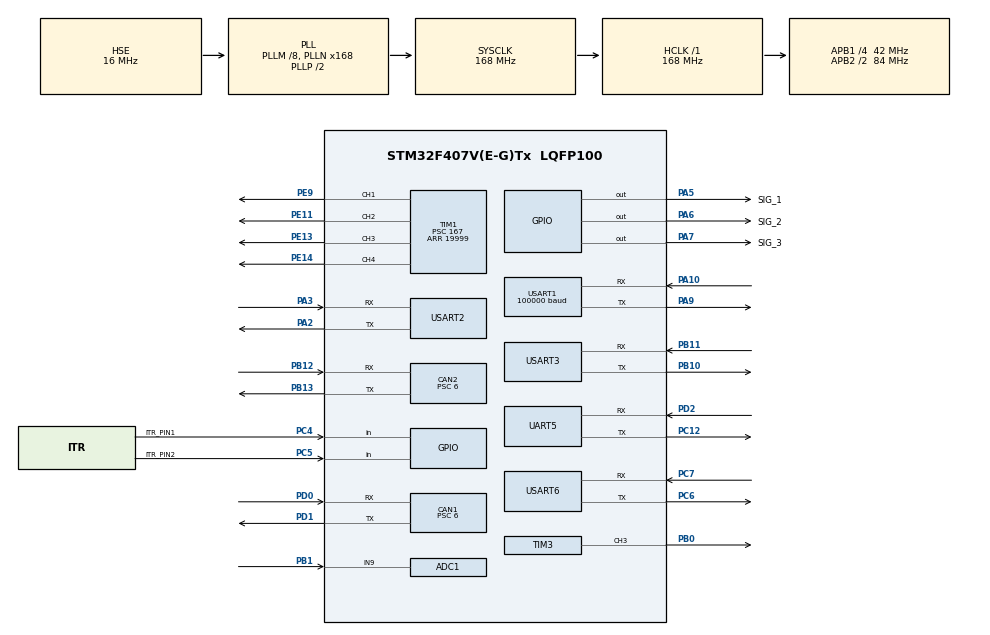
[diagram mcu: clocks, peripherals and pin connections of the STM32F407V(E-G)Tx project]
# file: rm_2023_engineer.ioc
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ADC1.Channel-0\#ChannelRegularConversion=ADC_CHANNEL_9
ADC1.NbrOfConversionFlag=1
ADC1.Rank-0\#ChannelRegularConversion=1
ADC1.SamplingTime-0\#ChannelRegularConversion=ADC_SAMPLETIME_3CYCLES
ADC1.master=1
CAN1.ABOM=ENABLE
CAN1.BS1=CAN_BS1_3TQ
CAN1.BS2=CAN_BS2_3TQ
CAN1.CalculateBaudRate=1000000
CAN1.CalculateTimeBit=1000
CAN1.CalculateTimeQuantum=142.85714285714286
CAN1.NART=ENABLE
CAN1.Prescaler=6
CAN1.TXFP=ENABLE
CAN2.ABOM=ENABLE
CAN2.BS1=CAN_BS1_3TQ
CAN2.BS2=CAN_BS2_3TQ
CAN2.CalculateBaudRate=1000000
CAN2.CalculateTimeBit=1000
CAN2.CalculateTimeQuantum=142.85714285714286
CAN2.NART=ENABLE
CAN2.Prescaler=6
CAN2.TXFP=ENABLE
Dma.Request0=USART1_RX
Dma.Request1=UART5_RX
Dma.Request2=UART5_TX
Dma.Request3=USART2_RX
Dma.Request4=USART2_TX
Dma.Request5=USART3_RX
Dma.Request6=USART3_TX
Dma.UART5_RX.1.Direction=DMA_PERIPH_TO_MEMORY
Dma.UART5_RX.1.FIFOMode=DMA_FIFOMODE_DISABLE
Dma.UART5_RX.1.Instance=DMA1_Stream0
Dma.UART5_RX.1.MemDataAlignment=DMA_MDATAALIGN_BYTE
Dma.UART5_RX.1.MemInc=DMA_MINC_ENABLE
Dma.UART5_RX.1.Mode=DMA_NORMAL
Dma.UART5_RX.1.PeriphDataAlignment=DMA_PDATAALIGN_BYTE
Dma.UART5_RX.1.PeriphInc=DMA_PINC_DISABLE
Dma.UART5_RX.1.Priority=DMA_PRIORITY_LOW
Dma.UART5_TX.2.Direction=DMA_MEMORY_TO_PERIPH
Dma.UART5_TX.2.FIFOMode=DMA_FIFOMODE_DISABLE
Dma.UART5_TX.2.Instance=DMA1_Stream7
Dma.UART5_TX.2.MemDataAlignment=DMA_MDATAALIGN_BYTE
Dma.UART5_TX.2.MemInc=DMA_MINC_ENABLE
Dma.UART5_TX.2.Mode=DMA_NORMAL
Dma.UART5_TX.2.PeriphDataAlignment=DMA_PDATAALIGN_BYTE
Dma.UART5_TX.2.PeriphInc=DMA_PINC_DISABLE
Dma.UART5_TX.2.Priority=DMA_PRIORITY_LOW
Dma.USART1_RX.0.Direction=DMA_PERIPH_TO_MEMORY
Dma.USART1_RX.0.FIFOMode=DMA_FIFOMODE_DISABLE
Dma.USART1_RX.0.Instance=DMA2_Stream2
Dma.USART1_RX.0.MemDataAlignment=DMA_MDATAALIGN_BYTE
Dma.USART1_RX.0.MemInc=DMA_MINC_ENABLE
Dma.USART1_RX.0.Mode=DMA_NORMAL
Dma.USART1_RX.0.PeriphDataAlignment=DMA_PDATAALIGN_BYTE
Dma.USART1_RX.0.PeriphInc=DMA_PINC_DISABLE
Dma.USART1_RX.0.Priority=DMA_PRIORITY_LOW
Dma.USART2_RX.3.Direction=DMA_PERIPH_TO_MEMORY
Dma.USART2_RX.3.FIFOMode=DMA_FIFOMODE_DISABLE
Dma.USART2_RX.3.Instance=DMA1_Stream5
Dma.USART2_RX.3.MemDataAlignment=DMA_MDATAALIGN_BYTE
Dma.USART2_RX.3.MemInc=DMA_MINC_ENABLE
Dma.USART2_RX.3.Mode=DMA_NORMAL
Dma.USART2_RX.3.PeriphDataAlignment=DMA_PDATAALIGN_BYTE
Dma.USART2_RX.3.PeriphInc=DMA_PINC_DISABLE
Dma.USART2_RX.3.Priority=DMA_PRIORITY_LOW
Dma.USART2_TX.4.Direction=DMA_MEMORY_TO_PERIPH
Dma.USART2_TX.4.FIFOMode=DMA_FIFOMODE_DISABLE
Dma.USART2_TX.4.Instance=DMA1_Stream6
Dma.USART2_TX.4.MemDataAlignment=DMA_MDATAALIGN_BYTE
Dma.USART2_TX.4.MemInc=DMA_MINC_ENABLE
Dma.USART2_TX.4.Mode=DMA_NORMAL
Dma.USART2_TX.4.PeriphDataAlignment=DMA_PDATAALIGN_BYTE
Dma.USART2_TX.4.PeriphInc=DMA_PINC_DISABLE
Dma.USART2_TX.4.Priority=DMA_PRIORITY_LOW
Dma.USART3_RX.5.Direction=DMA_PERIPH_TO_MEMORY
Dma.USART3_RX.5.FIFOMode=DMA_FIFOMODE_DISABLE
Dma.USART3_RX.5.Instance=DMA1_Stream1
Dma.USART3_RX.5.MemDataAlignment=DMA_MDATAALIGN_BYTE
Dma.USART3_RX.5.MemInc=DMA_MINC_ENABLE
Dma.USART3_RX.5.Mode=DMA_NORMAL
Dma.USART3_RX.5.PeriphDataAlignment=DMA_PDATAALIGN_BYTE
Dma.USART3_RX.5.PeriphInc=DMA_PINC_DISABLE
Dma.USART3_RX.5.Priority=DMA_PRIORITY_LOW
Dma.USART3_TX.6.Direction=DMA_MEMORY_TO_PERIPH
Dma.USART3_TX.6.FIFOMode=DMA_FIFOMODE_DISABLE
Dma.USART3_TX.6.Instance=DMA1_Stream3
Dma.USART3_TX.6.MemDataAlignment=DMA_MDATAALIGN_BYTE
Dma.USART3_TX.6.MemInc=DMA_MINC_ENABLE
Dma.USART3_TX.6.Mode=DMA_NORMAL
Dma.USART3_TX.6.PeriphDataAlignment=DMA_PDATAALIGN_BYTE
Dma.USART3_TX.6.PeriphInc=DMA_PINC_DISABLE
Dma.USART3_TX.6.Priority=DMA_PRIORITY_LOW
FREERTOS.INCLUDE_vTaskDelayUntil=1
FREERTOS.INCLUDE_xQueueGetMutexHolder=1
FREERTOS.Tasks01=defaultTask,0,128,StartDefaultTask,Default,NULL,Dynamic,NULL,NULL
FREERTOS.configUSE_TIMERS=1
Mcu.Family=STM32F4
Mcu.Name=STM32F407V(E-G)Tx
Mcu.Package=LQFP100
NVIC.CAN1_RX0_IRQn=true\:5\:0\:false\:false\:true\:true\:true\:true\:true
NVIC.CAN1_RX1_IRQn=true\:5\:0\:false\:false\:true\:true\:true\:true\:true
NVIC.CAN1_SCE_IRQn=true\:5\:0\:false\:false\:true\:true\:true\:true\:true
NVIC.CAN1_TX_IRQn=true\:5\:0\:false\:false\:true\:true\:true\:true\:true
NVIC.CAN2_RX0_IRQn=true\:5\:0\:false\:false\:true\:true\:true\:true\:true
NVIC.CAN2_RX1_IRQn=true\:5\:0\:false\:false\:true\:true\:true\:true\:true
NVIC.CAN2_SCE_IRQn=true\:5\:0\:false\:false\:true\:true\:true\:true\:true
NVIC.CAN2_TX_IRQn=true\:5\:0\:false\:false\:true\:true\:true\:true\:true
NVIC.DMA1_Stream0_IRQn=true\:5\:0\:false\:false\:true\:true\:false\:true\:true
NVIC.DMA1_Stream1_IRQn=true\:5\:0\:false\:false\:true\:true\:false\:true\:true
NVIC.DMA1_Stream3_IRQn=true\:5\:0\:false\:false\:true\:true\:false\:true\:true
NVIC.DMA1_Stream5_IRQn=true\:5\:0\:false\:false\:true\:true\:false\:true\:true
NVIC.DMA1_Stream6_IRQn=true\:5\:0\:false\:false\:true\:true\:false\:true\:true
NVIC.DMA1_Stream7_IRQn=true\:5\:0\:false\:false\:true\:true\:false\:true\:true
NVIC.DMA2_Stream2_IRQn=true\:5\:0\:false\:false\:true\:true\:false\:true\:true
NVIC.PriorityGroup=NVIC_PRIORITYGROUP_4
NVIC.TIM1_UP_TIM10_IRQn=true\:5\:0\:false\:false\:true\:false\:false\:true\:true
NVIC.TimeBase=TIM1_UP_TIM10_IRQn
NVIC.TimeBaseIP=TIM10
NVIC.UART5_IRQn=true\:5\:0\:false\:false\:true\:true\:true\:true\:true
NVIC.USART1_IRQn=true\:5\:0\:false\:false\:true\:true\:true\:true\:true
NVIC.USART2_IRQn=true\:5\:0\:false\:false\:true\:true\:true\:true\:true
NVIC.USART3_IRQn=true\:5\:0\:false\:false\:true\:true\:true\:true\:true
NVIC.USART6_IRQn=true\:5\:0\:false\:false\:true\:true\:true\:true\:true
PA10.GPIO_PuPd=GPIO_PULLUP
PA10.Mode=Asynchronous
PA10.Signal=USART1_RX
PA13.Mode=Serial_Wire
PA13.Signal=SYS_JTMS-SWDIO
PA14.Mode=Serial_Wire
PA14.Signal=SYS_JTCK-SWCLK
PA2.GPIO_PuPd=GPIO_PULLUP
PA2.Mode=Asynchronous
PA2.Signal=USART2_TX
PA3.GPIO_PuPd=GPIO_PULLUP
PA3.Mode=Asynchronous
PA3.Signal=USART2_RX
PA5.GPIO_Label=SIG_1
PA5.GPIO_PuPd=GPIO_PULLDOWN
PA5.Signal=GPIO_Output
PA6.GPIO_Label=SIG_2
PA6.GPIO_PuPd=GPIO_PULLDOWN
PA6.Signal=GPIO_Output
PA7.GPIO_Label=SIG_3
PA7.GPIO_PuPd=GPIO_PULLDOWN
PA7.Signal=GPIO_Output
PA9.GPIO_PuPd=GPIO_PULLUP
PA9.Mode=Asynchronous
PA9.Signal=USART1_TX
PB0.Signal=S_TIM3_CH3
PB1.Signal=ADCx_IN9
PB10.GPIO_PuPd=GPIO_PULLUP
PB10.Mode=Asynchronous
PB10.Signal=USART3_TX
PB11.GPIO_PuPd=GPIO_PULLUP
PB11.Mode=Asynchronous
PB11.Signal=USART3_RX
PB12.Mode=CAN_Activate
PB12.Signal=CAN2_RX
PB13.Mode=CAN_Activate
PB13.Signal=CAN2_TX
PC12.GPIO_PuPd=GPIO_PULLUP
PC12.Mode=Asynchronous
PC12.Signal=UART5_TX
PC4.GPIO_Label=ITR_PIN1
PC4.GPIO_PuPd=GPIO_PULLDOWN
PC4.Signal=GPIO_Input
PC5.GPIO_Label=ITR_PIN2
PC5.GPIO_PuPd=GPIO_PULLDOWN
PC5.Signal=GPIO_Input
PC6.GPIO_PuPd=GPIO_PULLUP
PC6.Mode=Asynchronous
PC6.Signal=USART6_TX
PC7.GPIO_PuPd=GPIO_PULLUP
PC7.Mode=Asynchronous
PC7.Signal=USART6_RX
PD0.Mode=CAN_Activate
PD0.Signal=CAN1_RX
PD1.Mode=CAN_Activate
PD1.Signal=CAN1_TX
PD2.GPIO_PuPd=GPIO_PULLUP
PD2.Mode=Asynchronous
PD2.Signal=UART5_RX
PE11.Signal=S_TIM1_CH2
PE13.Signal=S_TIM1_CH3
PE14.Signal=S_TIM1_CH4
PE9.Signal=S_TIM1_CH1
PH0-OSC_IN.Mode=HSE-External-Oscillator
PH0-OSC_IN.Signal=RCC_OSC_IN
PH1-OSC_OUT.Mode=HSE-External-Oscillator
PH1-OSC_OUT.Signal=RCC_OSC_OUT
ProjectManager.HeapSize=0x200
ProjectManager.StackSize=0x400
ProjectManager.TargetToolchain=MDK-ARM V5.32
RCC.48MHZClocksFreq_Value=84000000
RCC.AHBFreq_Value=168000000
RCC.APB1CLKDivider=RCC_HCLK_DIV4
RCC.APB1Freq_Value=42000000
RCC.APB1TimFreq_Value=84000000
RCC.APB2CLKDivider=RCC_HCLK_DIV2
RCC.APB2Freq_Value=84000000
RCC.APB2TimFreq_Value=168000000
RCC.CortexFreq_Value=168000000
RCC.HCLKFreq_Value=168000000
RCC.HSE_VALUE=16000000
RCC.HSI_VALUE=16000000
RCC.LSE_VALUE=32768
RCC.PLLM=8
RCC.PLLN=168
RCC.PLLSourceVirtual=RCC_PLLSOURCE_HSE
RCC.SYSCLKFreq_VALUE=168000000
RCC.SYSCLKSource=RCC_SYSCLKSOURCE_PLLCLK
RCC.VCOOutputFreq_Value=336000000
SH.ADCx_IN9.0=ADC1_IN9,IN9
SH.S_TIM1_CH1.0=TIM1_CH1,PWM Generation1 CH1
SH.S_TIM1_CH2.0=TIM1_CH2,PWM Generation2 CH2
SH.S_TIM1_CH3.0=TIM1_CH3,PWM Generation3 CH3
SH.S_TIM1_CH4.0=TIM1_CH4,PWM Generation4 CH4
SH.S_TIM3_CH3.0=TIM3_CH3,PWM Generation3 CH3
TIM1.AutoReloadPreload=TIM_AUTORELOAD_PRELOAD_ENABLE
TIM1.Channel-PWM\ Generation1\ CH1=TIM_CHANNEL_1
TIM1.Channel-PWM\ Generation2\ CH2=TIM_CHANNEL_2
TIM1.Channel-PWM\ Generation3\ CH3=TIM_CHANNEL_3
TIM1.Channel-PWM\ Generation4\ CH4=TIM_CHANNEL_4
TIM1.Period=19999
TIM1.Prescaler=167
TIM3.AutoReloadPreload=TIM_AUTORELOAD_PRELOAD_ENABLE
TIM3.Channel-PWM\ Generation3\ CH3=TIM_CHANNEL_3
TIM3.Period=19999
TIM3.Prescaler=167
UART5.VirtualMode=Asynchronous
USART1.BaudRate=100000
USART1.VirtualMode=VM_ASYNC
USART1.WordLength=WORDLENGTH_9B
USART2.VirtualMode=VM_ASYNC
USART3.VirtualMode=VM_ASYNC
USART6.VirtualMode=VM_ASYNC
VP_FREERTOS_VS_CMSIS_V1.Mode=CMSIS_V1
VP_SYS_VS_tim10.Mode=TIM10
VP_TIM12_VS_ClockSourceITR.Mode=TriggerSource_ITR0
VP_TIM1_VS_ClockSourceINT.Mode=Internal
VP_TIM3_VS_ClockSourceINT.Mode=Internal
board=custom

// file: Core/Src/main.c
/* USER CODE BEGIN Header */
/**
  ******************************************************************************
  * @file           : main.c
  * @brief          : Main program body
  ******************************************************************************
  * @attention
  *
  * Copyright (c) 2023 STMicroelectronics.
  * All rights reserved.
  *
  * This software is licensed under terms that can be found in the LICENSE file
  * in the root directory of this software component.
  * If no LICENSE file comes with this software, it is provided AS-IS.
  *
  ******************************************************************************
  */
/* USER CODE END Header */
#include "main.h"
#include "cmsis_os.h"
#include "adc.h"
#include "can.h"
#include "dma.h"
#include "tim.h"
#include "usart.h"
#include "gpio.h"

/* USER CODE BEGIN Includes */
#include "bsp_usart.h"
#include "bsp_can.h"
#include "modeswitch_task.h"
#include "bsp_pwm.h"
/* USER CODE END Includes */

void SystemClock_Config(void);
void MX_FREERTOS_Init(void);

int main(void)
{

  /* MCU Configuration--------------------------------------------------------*/

  /* Reset of all peripherals, Initializes the Flash interface and the Systick. */
  HAL_Init();

  /* Configure the system clock */
  SystemClock_Config();

  /* Initialize all configured peripherals */
  MX_GPIO_Init();
  MX_DMA_Init();
  MX_CAN1_Init();
  MX_CAN2_Init();
  MX_USART1_UART_Init();
  MX_UART5_Init();
  MX_USART2_UART_Init();
  MX_USART3_UART_Init();
  MX_USART6_UART_Init();
  MX_TIM1_Init();
  MX_ADC1_Init();
  MX_TIM3_Init();
  MX_TIM12_Init();
  /* USER CODE BEGIN 2 */
	user_uart_init();
	Can_Init();
	pid_init();
	camera_init();
  /* USER CODE END 2 */

  /* Call init function for freertos objects (in freertos.c) */
  MX_FREERTOS_Init();

  /* Start scheduler */
  osKernelStart();
  /* We should never get here as control is now taken by the scheduler */
  /* Infinite loop */
  while (1)
  {

  }
}

void SystemClock_Config(void)
{
  RCC_OscInitTypeDef RCC_OscInitStruct = {0};
  RCC_ClkInitTypeDef RCC_ClkInitStruct = {0};

  /** Configure the main internal regulator output voltage
  */
  __HAL_RCC_PWR_CLK_ENABLE();
  __HAL_PWR_VOLTAGESCALING_CONFIG(PWR_REGULATOR_VOLTAGE_SCALE1);

  /** Initializes the RCC Oscillators according to the specified parameters
  * in the RCC_OscInitTypeDef structure.
  */
  RCC_OscInitStruct.OscillatorType = RCC_OSCILLATORTYPE_HSE;
  RCC_OscInitStruct.HSEState = RCC_HSE_ON;
  RCC_OscInitStruct.PLL.PLLState = RCC_PLL_ON;
  RCC_OscInitStruct.PLL.PLLSource = RCC_PLLSOURCE_HSE;
  RCC_OscInitStruct.PLL.PLLM = 8;
  RCC_OscInitStruct.PLL.PLLN = 168;
  RCC_OscInitStruct.PLL.PLLP = RCC_PLLP_DIV2;
  RCC_OscInitStruct.PLL.PLLQ = 4;
  if (HAL_RCC_OscConfig(&RCC_OscInitStruct) != HAL_OK)
  {
    Error_Handler();
  }

  /** Initializes the CPU, AHB and APB buses clocks
  */
  RCC_ClkInitStruct.ClockType = RCC_CLOCKTYPE_HCLK|RCC_CLOCKTYPE_SYSCLK
                              |RCC_CLOCKTYPE_PCLK1|RCC_CLOCKTYPE_PCLK2;
  RCC_ClkInitStruct.SYSCLKSource = RCC_SYSCLKSOURCE_PLLCLK;
  RCC_ClkInitStruct.AHBCLKDivider = RCC_SYSCLK_DIV1;
  RCC_ClkInitStruct.APB1CLKDivider = RCC_HCLK_DIV4;
  RCC_ClkInitStruct.APB2CLKDivider = RCC_HCLK_DIV2;

  if (HAL_RCC_ClockConfig(&RCC_ClkInitStruct, FLASH_LATENCY_5) != HAL_OK)
  {
    Error_Handler();
  }
}

void HAL_TIM_PeriodElapsedCallback(TIM_HandleTypeDef *htim)
{
  if (htim->Instance == TIM10) {
    HAL_IncTick();
  }
}

void Error_Handler(void)
{
  __disable_irq();
  while (1)
  {
  }
}

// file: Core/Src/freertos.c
/* USER CODE BEGIN Header */
/**
  ******************************************************************************
  * File Name          : freertos.c
  * Description        : Code for freertos applications
  ******************************************************************************
  * @attention
  *
  * Copyright (c) 2023 STMicroelectronics.
  * All rights reserved.
  *
  * This software is licensed under terms that can be found in the LICENSE file
  * in the root directory of this software component.
  * If no LICENSE file comes with this software, it is provided AS-IS.
  *
  ******************************************************************************
  */
/* USER CODE END Header */

#include "FreeRTOS.h"
#include "task.h"
#include "main.h"
#include "cmsis_os.h"

/* USER CODE BEGIN Includes */
#include "modeswitch_task.h"
#include "uplift_task.h"
#include "stretch_task.h"
#include "addstretch_task.h"
#include "rotate_task.h"
#include "convey_task.h"
#include "spin_task.h"
#include "cross_task.h"
#include "common_task.h"
#include "cradle_task.h"
#include "relay_task.h"
#include "bsp_can.h"
#include "bsp_judgesend.h"
#include "diy_remote.h"
/* USER CODE END Includes */

/* USER CODE BEGIN Variables */
osTimerId Can1SendTaskHandle;
osTimerId Can2SendTaskHandle;

osThreadId upliftTaskHandle;
osThreadId crossTaskHandle;
osThreadId cradleTaskHandle;
osThreadId stretchTaskHandle;
osThreadId addstretchTaskHandle;
osThreadId rotateTaskHandle;
osThreadId chassisTaskHandle;
osThreadId conveyTaskHandle;
osThreadId spinTaskHandle;
osThreadId relayTaskHandle;
osThreadId modeswitchTaskHandle;
osThreadId judgeSendTaskHandle;
osThreadId diyrefreshTaskHandle;

osMessageQId can1msqHandle;
osMessageQId can2msqHandle;
/* USER CODE END Variables */
osThreadId defaultTaskHandle;

void StartDefaultTask(void const * argument);

void MX_FREERTOS_Init(void); /* (MISRA C 2004 rule 8.1) */

/* GetIdleTaskMemory prototype (linked to static allocation support) */
void vApplicationGetIdleTaskMemory( StaticTask_t **ppxIdleTaskTCBBuffer, StackType_t **ppxIdleTaskStackBuffer, uint32_t *pulIdleTaskStackSize );

/* GetTimerTaskMemory prototype (linked to static allocation support) */
void vApplicationGetTimerTaskMemory( StaticTask_t **ppxTimerTaskTCBBuffer, StackType_t **ppxTimerTaskStackBuffer, uint32_t *pulTimerTaskStackSize );

/* USER CODE BEGIN GET_IDLE_TASK_MEMORY */
static StaticTask_t xIdleTaskTCBBuffer;
static StackType_t xIdleStack[configMINIMAL_STACK_SIZE];

void vApplicationGetIdleTaskMemory( StaticTask_t **ppxIdleTaskTCBBuffer, StackType_t **ppxIdleTaskStackBuffer, uint32_t *pulIdleTaskStackSize )
{
  *ppxIdleTaskTCBBuffer = &xIdleTaskTCBBuffer;
  *ppxIdleTaskStackBuffer = &xIdleStack[0];
  *pulIdleTaskStackSize = configMINIMAL_STACK_SIZE;
  /* place for user code */
}
/* USER CODE END GET_IDLE_TASK_MEMORY */

/* USER CODE BEGIN GET_TIMER_TASK_MEMORY */
static StaticTask_t xTimerTaskTCBBuffer;
static StackType_t xTimerStack[configTIMER_TASK_STACK_DEPTH];

void vApplicationGetTimerTaskMemory( StaticTask_t **ppxTimerTaskTCBBuffer, StackType_t **ppxTimerTaskStackBuffer, uint32_t *pulTimerTaskStackSize )
{
  *ppxTimerTaskTCBBuffer = &xTimerTaskTCBBuffer;
  *ppxTimerTaskStackBuffer = &xTimerStack[0];
  *pulTimerTaskStackSize = configTIMER_TASK_STACK_DEPTH;
  /* place for user code */
}
/* USER CODE END GET_TIMER_TASK_MEMORY */

void MX_FREERTOS_Init(void) {

  /* USER CODE BEGIN RTOS_TIMERS */
  /* start timers, add new ones, ... */
	osTimerDef(Can1Timer,Can1_Send_Task);
  Can1SendTaskHandle = osTimerCreate(osTimer(Can1Timer),osTimerPeriodic,NULL);
  osTimerStart(Can1SendTaskHandle,1);

  osTimerDef(Can2Timer,Can2_Send_Task);
  Can2SendTaskHandle = osTimerCreate(osTimer(Can2Timer),osTimerPeriodic,NULL);
  osTimerStart(Can2SendTaskHandle,1);

  /* USER CODE END RTOS_TIMERS */

  /* USER CODE BEGIN RTOS_QUEUES */
  /* add queues, ... */
	 osMessageQDef(Can1msq,10,Current_Queue_t*);
  can1msqHandle = osMessageCreate(osMessageQ(Can1msq),NULL);

  osMessageQDef(Can2msq,10,Current_Queue_t *);
  can2msqHandle = osMessageCreate(osMessageQ(Can2msq),NULL);

  /* USER CODE END RTOS_QUEUES */

  /* Create the thread(s) */
  /* definition and creation of defaultTask */
  osThreadDef(defaultTask, StartDefaultTask, osPriorityNormal, 0, 128);
  defaultTaskHandle = osThreadCreate(osThread(defaultTask), NULL);

  /* USER CODE BEGIN RTOS_THREADS */
  /* add threads, ... */
	//模式选择任务
	osThreadDef(modeswitchTask, modeswitch_task, osPriorityAboveNormal, 0, 512);
  modeswitchTaskHandle = osThreadCreate(osThread(modeswitchTask), NULL);
	//抬升
	osThreadDef(upliftTask, uplift_task, osPriorityAboveNormal, 0, 128);
  upliftTaskHandle = osThreadCreate(osThread(upliftTask), NULL);
	//前移
	osThreadDef(stretchTask, stretch_task, osPriorityAboveNormal, 0, 216);
  stretchTaskHandle = osThreadCreate(osThread(stretchTask), NULL);
	//前伸
	osThreadDef(addstretchTask, addstretch_task, osPriorityAboveNormal, 0, 128);
  stretchTaskHandle = osThreadCreate(osThread(addstretchTask), NULL);
	//滚动
	osThreadDef(rotateTask, rotate_task, osPriorityAboveNormal, 0, 128);
  rotateTaskHandle = osThreadCreate(osThread(rotateTask), NULL);
	//前yaw轴
	osThreadDef(crossTask, cross_task, osPriorityAboveNormal, 0, 128);
  crossTaskHandle = osThreadCreate(osThread(crossTask), NULL);
	//吸盘spin
	osThreadDef(spinTask, spin_task, osPriorityAboveNormal, 0, 128);
  spinTaskHandle = osThreadCreate(osThread(spinTask), NULL);
	//矿仓
	osThreadDef(conveyTask, convey_task, osPriorityAboveNormal, 0, 128);
  conveyTaskHandle = osThreadCreate(osThread(conveyTask), NULL);

	//数据传输
	osThreadDef(relayTask, relay_task, osPriorityAboveNormal, 0 ,128);
  relayTaskHandle = osThreadCreate(osThread(relayTask), NULL);
	//底盘
	osThreadDef(chassisTask, chassis_task, osPriorityAboveNormal, 0, 128);
  chassisTaskHandle = osThreadCreate(osThread(chassisTask), NULL);
	//云台
	osThreadDef(cradleTask, cradle_task, osPriorityAboveNormal, 0, 128);
  cradleTaskHandle = osThreadCreate(osThread(cradleTask), NULL);

	//裁判系统
	osThreadDef(judgesendTask, judge_send_task, osPriorityAboveNormal, 0, 128);
	judgeSendTaskHandle = osThreadCreate(osThread(judgesendTask),NULL);
	//自定义遥控器数据更新
//	osThreadDef(diyrefreshTask,diy_refresh_task,osPriorityAboveNormal,0,128);
//	diyrefreshTaskHandle = osThreadCreate(osThread(diyrefreshTask),NULL);
  /* USER CODE END RTOS_THREADS */

}

void StartDefaultTask(void const * argument)
{
  for(;;)
  {
    osDelay(1);
  }
}
